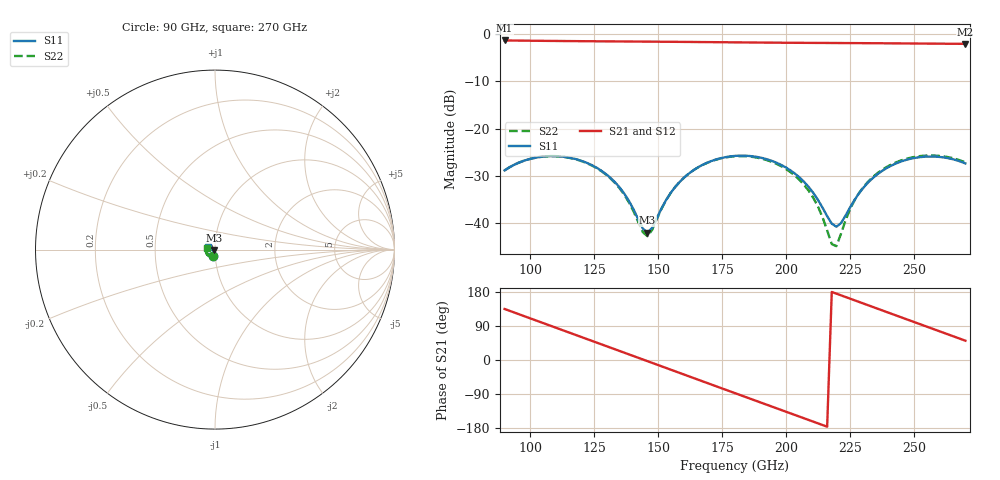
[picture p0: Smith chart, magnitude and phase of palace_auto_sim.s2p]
#  GHZ S DB R 50
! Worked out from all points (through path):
!   101 points, 90 GHz to 270 GHz, reference 50 ohm
!   highest |S21| = -1.32 dB at 90 GHz (marker M1); lowest = -2.0 dB at 270 GHz (marker M2)
!   group delay of S21, straight-line fit = 6.85 ps
!   lowest |S11| = -42.0 dB at 145.8 GHz (marker M3), VSWR 1.02, Z = 49.3 - j0.314 ohm
!   |S11| at or under -10 dB: start of sweep to end of sweep
!   |S22| runs from -44.8 to -25.7 dB; largest |S21 - S12| = 9.6e-14
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90  -28.80 -105.4  -1.32 134.6  -1.32 134.6  -28.80 -105.3
99  -26.51 -126.1  -1.37 112.4  -1.37 112.4  -26.52 -126.1
106.2  -25.82 -143.0  -1.41 94.6  -1.41 94.6  -25.85 -143.2
120.6  -26.89 -176.0  -1.48 59.1  -1.48 59.1  -26.95 -176.5
133.2  -31.35 160.4  -1.53 28.1  -1.53 28.1  -31.51 159.4
145.8  -41.97 -156.4  -1.57 -3.0  -1.57 -3.0  -42.72 -153.9
151.2  -36.94 -114.5  -1.59 -16.4  -1.59 -16.4  -37.02 -111.8
156.6  -32.33 -112.7  -1.62 -29.7  -1.62 -29.7  -32.33 -111.3
163.8  -28.75 -123.2  -1.65 -47.5  -1.65 -47.5  -28.76 -122.7
172.8  -26.45 -141.4  -1.69 -69.7  -1.69 -69.7  -26.50 -141.4
180  -25.74 -157.0  -1.72 -87.5  -1.72 -87.5  -25.82 -157.5
189  -26.00 -176.5  -1.77 -109.6  -1.77 -109.6  -26.15 -177.7
198  -27.63 165.0  -1.80 -131.7  -1.80 -131.7  -27.91 162.7
205.2  -30.29 152.9  -1.83 -149.4  -1.83 -149.4  -30.82 148.8
210.6  -33.58 148.9  -1.84 -162.7  -1.84 -162.7  -34.62 142.3
217.8  -40.07 174.1  -1.86 179.5  -1.86 179.5  -44.38 174.5
219.6  -40.72 -167.1  -1.87 175.1  -1.87 175.1  -44.83 -151.0
225  -36.58 -129.0  -1.88 161.8  -1.88 161.8  -36.94 -111.7
228.6  -33.54 -124.8  -1.89 152.9  -1.89 152.9  -33.46 -112.2
241.2  -27.75 -140.5  -1.93 121.8  -1.93 121.8  -27.52 -133.5
255.6  -25.87 -169.3  -1.99 86.4  -1.99 86.4  -25.65 -163.9
270  -27.33 161.2  -2.04 50.9  -2.04 50.9  -27.11 166.4
